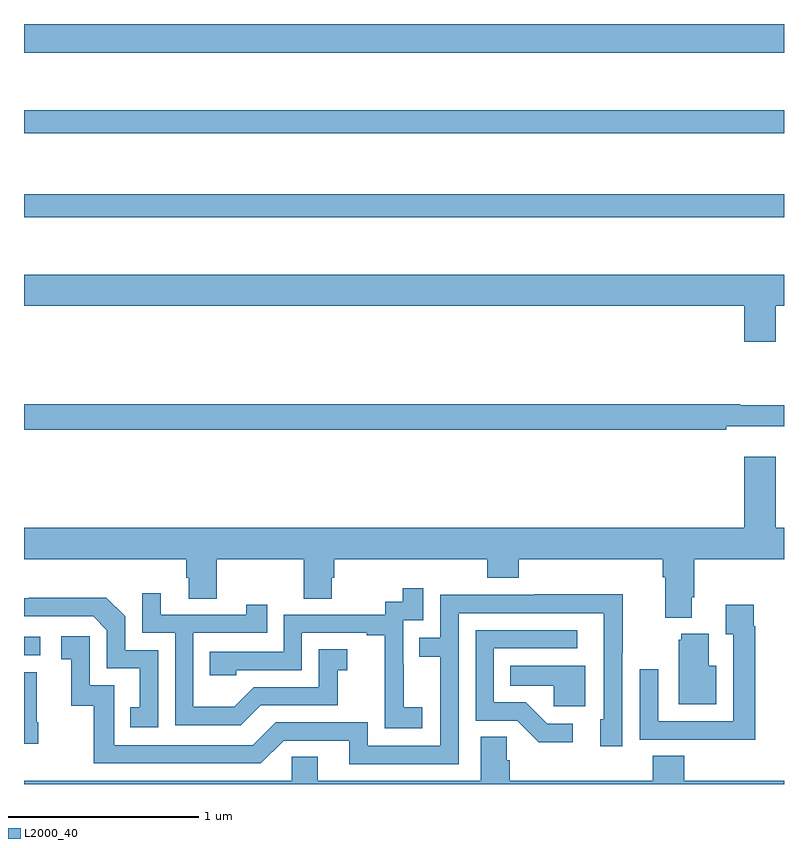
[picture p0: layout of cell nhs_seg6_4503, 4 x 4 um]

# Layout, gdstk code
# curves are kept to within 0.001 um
import gdstk
lib = gdstk.Library(unit=1e-6, precision=1e-09)
def R(c, l, rs):  # rectangles x0, y0, x1, y1
    for r in rs: c.add(gdstk.rectangle(r[:2], r[2:], *l))
def P(c, l, *ps):  # polygons
    for p in ps: c.add(gdstk.Polygon(p, *l))
L2000_40 = (2000, 40)

nhs_seg6_4503 = lib.new_cell('nhs_seg6_4503')
R(nhs_seg6_4503, L2000_40, [(377,932.178,377.086,932.274), (377,934.482,381,934.603), (377,934.926,381,935.047), (377,935.348,381,935.5)])
P(nhs_seg6_4503, L2000_40, [(380.956,934.016),(381,934.016),(381,934.18),(377,934.18),(377,934.016),(380.792,934.016),(380.792,933.828),(380.956,933.828)],
  [(380.696,933.383),(381,933.383),(381,933.493),(380.77,933.493),(380.77,933.5),(377,933.5),(377,933.364),(380.696,933.364)],
  [(380.515,932.482),(380.528,932.482),(380.528,932.684),(381,932.684),(381,932.848),(380.956,932.848),(380.956,933.223),(380.792,933.223),(380.792,932.848),(377,932.848),(377,932.684),(377.855,932.684),(377.855,932.586),(377.867,932.586),(377.867,932.476),(378.015,932.476),(378.015,932.684),(378.472,932.684),(378.472,932.476),(378.619,932.476),(378.619,932.586),(378.632,932.586),(378.632,932.684),(379.439,932.684),(379.439,932.585),(379.604,932.585),(379.604,932.684),(380.363,932.684),(380.363,932.588),(380.375,932.588),(380.375,932.375),(380.515,932.375)],
  [(379.096,931.903),(378.998,931.903),(378.998,932.132),(378.996,932.132),(378.996,932.361),(379.101,932.361),(379.101,932.53),(378.993,932.53),(378.993,932.46),(378.9,932.46),(378.9,932.391),(378.366,932.391),(378.366,932.196),(377.977,932.196),(377.977,932.073),(378.117,932.073),(378.117,932.1),(378.462,932.1),(378.462,932.295),(378.803,932.295),(378.803,932.283),(378.899,932.283),(378.899,931.999),(378.898,931.999),(378.898,931.793),(379.096,931.793)],
  [(378.247,931.914),(378.651,931.914),(378.651,932.099),(378.7,932.099),(378.7,932.209),(378.552,932.209),(378.552,932.01),(378.21,932.01),(378.106,931.906),(377.892,931.906),(377.892,932.295),(378.281,932.295),(378.281,932.443),(378.17,932.443),(378.17,932.391),(377.719,932.391),(377.719,932.503),(377.622,932.503),(377.622,932.295),(377.796,932.295),(377.796,931.809),(378.142,931.809)],
  [(379.287,932.4),(380.051,932.4),(380.052,931.842),(380.033,931.842),(380.033,931.698),(380.148,931.698),(380.148,932.191),(380.151,932.191),(380.151,932.498),(379.687,932.498),(379.687,932.496),(379.191,932.496),(379.191,932.271),(379.081,932.271),(379.081,932.17),(379.191,932.17),(379.191,931.701),(378.81,931.701),(378.81,931.824),(378.324,931.824),(378.204,931.704),(377.475,931.704),(377.475,932.019),(377.346,932.019),(377.346,932.278),(377.196,932.278),(377.196,932.157),(377.249,932.157),(377.249,931.911),(377.367,931.911),(377.367,931.608),(378.246,931.608),(378.366,931.728),(378.713,931.728),(378.713,931.605),(379.287,931.605)],
  [(377.706,932.205),(377.532,932.205),(377.532,932.382),(377.434,932.48),(377.026,932.48),(377.026,932.478),(377,932.478),(377,932.382),(377.364,932.382),(377.436,932.31),(377.436,932.109),(377.609,932.109),(377.609,931.905),(377.56,931.905),(377.56,931.8),(377.706,931.8)],
  [(380.849,932.33),(380.842,932.33),(380.842,932.443),(380.693,932.443),(380.693,932.287),(380.733,932.287),(380.733,931.83),(380.337,931.83),(380.337,932.104),(380.241,932.104),(380.241,931.734),(380.557,931.734),(380.557,931.733),(380.849,931.733)],
  [(379.888,931.818),(379.753,931.818),(379.642,931.929),(379.473,931.929),(379.473,932.214),(379.912,932.214),(379.912,932.31),(379.377,932.31),(379.377,931.833),(379.596,931.833),(379.709,931.721),(379.888,931.721)],
  [(380.644,932.122),(380.605,932.122),(380.605,932.29),(380.459,932.29),(380.459,932.259),(380.447,932.259),(380.447,931.919),(380.644,931.919)],
  [(379.954,932.122),(379.558,932.122),(379.558,932.018),(379.789,932.018),(379.789,931.91),(379.954,931.91)],
  [(377.076,931.825),(377.068,931.825),(377.068,932.089),(377,932.089),(377,931.713),(377.076,931.713)],
  [(381,931.516),(380.474,931.516),(380.474,931.649),(380.309,931.649),(380.309,931.516),(379.556,931.516),(379.556,931.625),(379.542,931.625),(379.542,931.748),(379.403,931.748),(379.403,931.516),(378.547,931.516),(378.547,931.643),(378.408,931.643),(378.408,931.516),(377,931.516),(377,931.5),(381,931.5)])

lib.write_gds('nhs_seg6_4503.gds')
